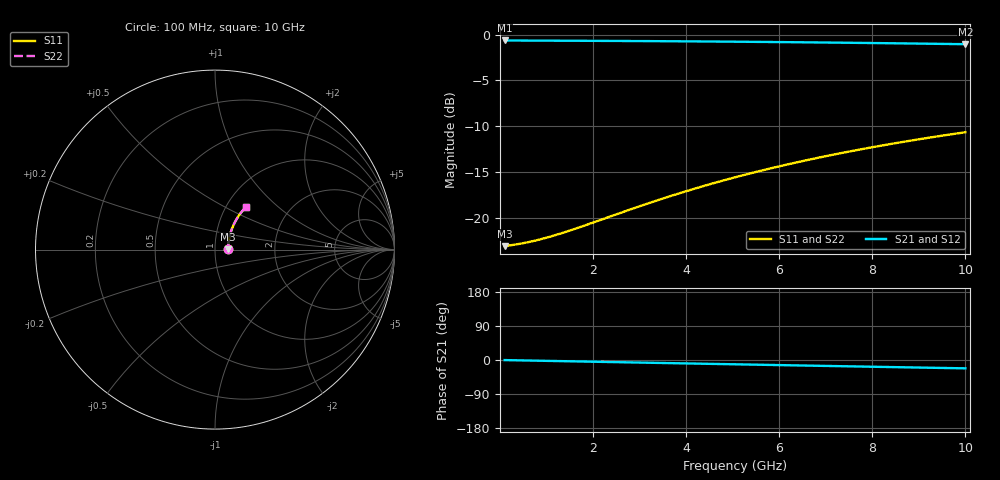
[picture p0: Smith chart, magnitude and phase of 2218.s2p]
# Hz S RI R 50.00
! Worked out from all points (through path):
!   100 points, 100 MHz to 10 GHz, reference 50 ohm
!   highest |S21| = -0.63 dB at 100 MHz (marker M1); lowest = -1.0 dB at 10 GHz (marker M2)
!   group delay of S21, straight-line fit = 6.13 ps
!   lowest |S11| = -23.1 dB at 100 MHz (marker M3), VSWR 1.15, Z = 57.5 + j0.317 ohm
!   |S11| at or under -10 dB: start of sweep to end of sweep
!   |S22| runs from -23.1 to -10.6 dB; largest |S21 - S12| = 0
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1e8  0.0701 0.00274  0.9299 -0.00369  0.9299 -0.00369  0.0701 0.00274
3e8  0.0709 0.0082  0.9291 -0.011  0.9291 -0.011  0.0709 0.0082
5e8  0.0716 0.0137  0.9284 -0.0184  0.9284 -0.0184  0.0716 0.0137
7e8  0.0722 0.0191  0.9278 -0.0257  0.9278 -0.0257  0.0722 0.0191
9e8  0.0728 0.0245  0.9272 -0.0331  0.9272 -0.0331  0.0728 0.0245
1.1e9  0.0735 0.0299  0.9265 -0.0404  0.9265 -0.0404  0.0735 0.0299
1.3e9  0.0742 0.0353  0.9257 -0.0477  0.9257 -0.0477  0.0742 0.0353
1.8e9  0.0763 0.0488  0.9235 -0.0658  0.9235 -0.0658  0.0763 0.0488
2.8e9  0.0819 0.0753  0.9177 -0.1018  0.9177 -0.1018  0.0819 0.0753
3.4e9  0.0861 0.0909  0.9133 -0.1231  0.9133 -0.1231  0.0861 0.0909
3.8e9  0.0893 0.1011  0.91 -0.1372  0.91 -0.1372  0.0893 0.1011
4.2e9  0.0928 0.1113  0.9063 -0.1511  0.9063 -0.1511  0.0928 0.1113
4.6e9  0.0966 0.1213  0.9024 -0.1649  0.9024 -0.1649  0.0966 0.1213
5.1e9  0.1017 0.1335  0.897 -0.1819  0.897 -0.1819  0.1017 0.1335
5.5e9  0.1062 0.1431  0.8924 -0.1954  0.8924 -0.1954  0.1062 0.1431
5.9e9  0.1109 0.1526  0.8874 -0.2086  0.8874 -0.2086  0.1109 0.1526
6.3e9  0.1159 0.1619  0.8822 -0.2217  0.8822 -0.2217  0.1159 0.1619
6.7e9  0.1211 0.1709  0.8768 -0.2346  0.8768 -0.2346  0.1211 0.1709
7.5e9  0.1323 0.1884  0.8651 -0.2597  0.8651 -0.2597  0.1323 0.1884
8.4e9  0.1459 0.2071  0.8507 -0.287  0.8507 -0.287  0.1459 0.2071
9.2e9  0.159 0.2227  0.837 -0.3103  0.837 -0.3103  0.159 0.2227
1e10  0.1727 0.2373  0.8225 -0.3326  0.8225 -0.3326  0.1727 0.2373
